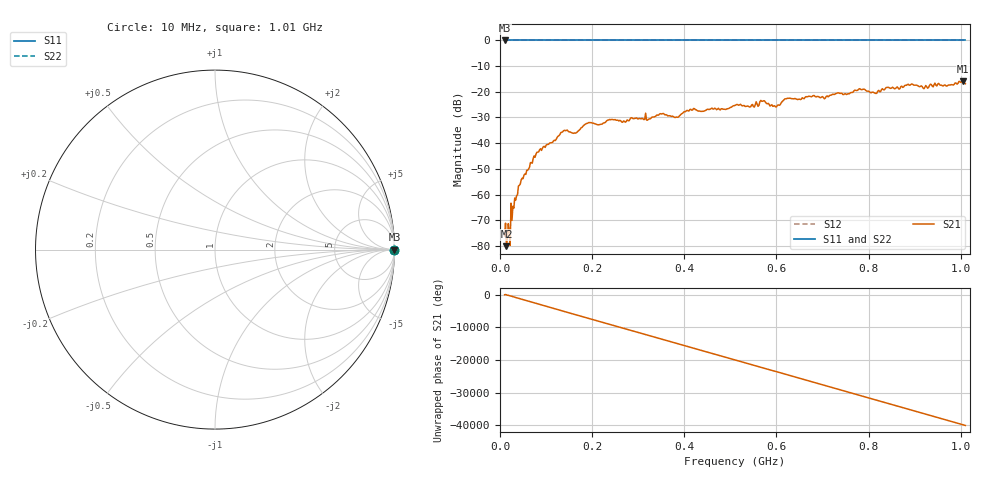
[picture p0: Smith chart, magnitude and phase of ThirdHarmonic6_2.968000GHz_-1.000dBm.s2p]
! 8/17/2025 8:23:47 AM
! C:\ANRITSUVNA\TEMP\TEMP.S2P
! CHANNEL.1
! TR.MEASUREMENT
! RAW.DATA
! RF.CORRECTION.OFF
! AVERAGING.OFF
! IF.BANDWIDTH: 5KHZ
! SWEEPTYPE:  FREQ.SWEEP(Linear)
! Reference Plane Port Info
! PORT:  PORT1  PORT2
! DISTANCE:  0  m  0  m
! TIME:  0  s  0  s
! PHASE.OFFSET:  0  deg.  0  deg.
! LOSS:  0  dB  0  dB
! REF.LOSS:  0  dB  0  dB
! REF.FREQ:  0  Hz  0  Hz
! Power Info
! POWER:  -20  dBm  -20  dBm
! EFF.POWER:  -20  dBm  -20  dBm
! SOURCE.ATTEN:  0  dB  0  dB
! TEST.ATTEN:  0  dB  0  dB
# GHZ S RI R 50.0
! FREQ.GHZ  S11RE  S11IM  S21RE  S21IM  S12RE  S12IM  S22RE  S22IM
!; PortSelection: Port_12
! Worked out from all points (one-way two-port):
!   501 points, 10 MHz to 1.01 GHz, reference 50 ohm
!   highest |S21| = -15.94 dB at 1.004 GHz (marker M1); lowest = -80.1 dB at 14 MHz (marker M2)
!   lowest |S11| = 0.0 dB at 10 MHz (marker M3)
!   |S11| at or under -10 dB: nowhere
!   |S22| runs from 0.0 to 0.0 dB; largest |S21 - S12| = 1.1
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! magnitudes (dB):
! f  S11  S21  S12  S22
! 10 MHz  0.0  -76.1  0.0  0.0
! 14 MHz  0.0  -80.1  0.0  0.0
! 18 MHz  0.0  -71.3  0.0  0.0
! 28 MHz  0.0  -64.6  0.0  0.0
! 44 MHz  0.0  -55.9  0.0  0.0
! 76 MHz  0.0  -45.5  0.0  0.0
! 136 MHz  0.0  -35.6  0.0  0.0
! 162 MHz  0.0  -36.0  0.0  0.0
! 178 MHz  0.0  -33.8  0.0  0.0
! 344 MHz  0.0  -29.1  0.0  0.0
! 384 MHz  0.0  -29.8  0.0  0.0
! 416 MHz  0.0  -27.2  0.0  0.0
! 510 MHz  0.0  -25.3  0.0  0.0
! 570 MHz  0.0  -23.7  0.0  0.0
! 596 MHz  0.0  -25.4  0.0  0.0
! 622 MHz  0.0  -22.6  0.0  0.0
! 678 MHz  0.0  -21.7  0.0  0.0
! 782 MHz  0.0  -18.9  0.0  0.0
! 814 MHz  0.0  -20.5  0.0  0.0
! 844 MHz  0.0  -18.3  0.0  0.0
! 1.004 GHz  0.0  -15.9  0.0  0.0
! 1.01 GHz  0.0  -16.9  0.0  0.0
